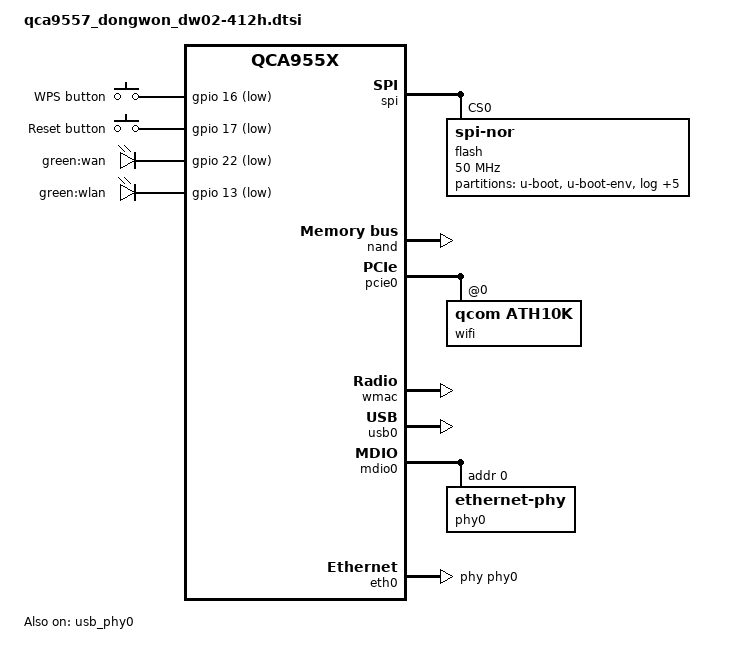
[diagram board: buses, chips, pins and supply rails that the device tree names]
// SPDX-License-Identifier: GPL-2.0-or-later OR MIT

#include "qca955x.dtsi"

#include <dt-bindings/gpio/gpio.h>
#include <dt-bindings/input/input.h>

/ {
	aliases {
		led-boot = &led_wan;
		led-failsafe = &led_wan;
		led-upgrade = &led_wan;
	};

	keys {
		compatible = "gpio-keys";

		wps {
			label = "WPS button";
			gpios = <&gpio 16 GPIO_ACTIVE_LOW>;
			linux,code = <KEY_WPS_BUTTON>;
		};

		reset {
			label = "Reset button";
			gpios = <&gpio 17 GPIO_ACTIVE_LOW>;
			linux,code = <KEY_RESTART>;
		};
	};

	leds {
		compatible = "gpio-leds";

		led_wan: wan {
			label = "green:wan";
			gpios = <&gpio 22 GPIO_ACTIVE_LOW>;
		};

		wlan {
			label = "green:wlan";
			gpios = <&gpio 13 GPIO_ACTIVE_LOW>;
		};
	};
};

&spi {
	status = "okay";

	flash@0 {
		compatible = "jedec,spi-nor";
		reg = <0>;
		spi-max-frequency = <50000000>;

		partitions {
			compatible = "fixed-partitions";
			#address-cells = <1>;
			#size-cells = <1>;

			partition@0 {
				label = "u-boot";
				reg = <0x000000 0x040000>;
				read-only;
			};

			partition@40000 {
				label = "u-boot-env";
				reg = <0x040000 0x010000>;
			};

			partition@50000 {
				label = "log";
				reg = <0x050000 0x010000>;
				read-only;
			};

			partition@60000 {
				label = "recoverk";
				reg = <0x060000 0x0e0000>;
				read-only;
			};

			partition@140000 {
				label = "recoverr";
				reg = <0x140000 0x090000>;
				read-only;
			};

			partition@1d0000 {
				label = "nvram";
				reg = <0x1d0000 0x010000>;
				read-only;
			};

			partition@1e0000 {
				label = "nvbackup";
				reg = <0x1e0000 0x010000>;
				read-only;
			};

			partition@1f0000 {
				label = "art";
				reg = <0x1f0000 0x010000>;
				read-only;

				compatible = "nvmem-cells";
				#address-cells = <1>;
				#size-cells = <1>;

				macaddr_art_0: macaddr@0 {
					reg = <0x0 0x6>;
				};

				cal_art_1000: cal@1000 {
					reg = <0x1000 0x440>;
				};

				cal_art_5000: cal@5000 {
					reg = <0x5000 0x844>;
				};
			};
		};
	};
};

&nand {
	status = "okay";

	partitions {
		compatible = "fixed-partitions";
		#address-cells = <1>;
		#size-cells = <1>;

		partition@0 {
			label = "current";
			reg = <0x0 0x1000000>;
			read-only;
		};

		partition@1000000 {
			label = "kernel";
			reg = <0x1000000 0x800000>;
		};

		ubi: partition@1800000 {
			label = "ubi";
		};
	};
};

&pcie0 {
	status = "okay";

	wifi@0,0 {
		compatible = "qcom,ath10k";
		reg = <0 0 0 0 0>;

		nvmem-cells = <&macaddr_art_0>, <&cal_art_5000>;
		nvmem-cell-names = "mac-address", "calibration";
		mac-address-increment = <4>;
	};
};

&wmac {
	status = "okay";

	nvmem-cells = <&macaddr_art_0>, <&cal_art_1000>;
	nvmem-cell-names = "mac-address", "calibration";
	mac-address-increment = <3>;
};

&usb_phy0 {
	status = "okay";
};

&usb0 {
	status = "okay";
};

&mdio0 {
	status = "okay";

	phy0: ethernet-phy@0 {
		reg = <0>;

		qca,ar8327-initvals = <
			0x04 0x07600000 /* PORT0 PAD MODE CTRL */
			0x50 0xcf37cf37 /* LED Control Register 0 */
			0x54 0x00000000 /* LED Control Register 1 */
			0x58 0x00000000 /* LED Control Register 2 */
			0x5c 0x0030c300 /* LED Control Register 3 */
			0x7c 0x0000007e /* PORT0_STATUS */
		>;
	};
};

&eth0 {
	status = "okay";

	nvmem-cells = <&macaddr_art_0>;
	nvmem-cell-names = "mac-address";
	mac-address-increment = <1>;
	phy-handle = <&phy0>;
	pll-data = <0xa6000000 0x00000101 0x00001616>;

	gmac-config {
		device = <&gmac>;
		rgmii-enabled = <1>;
	};
};
